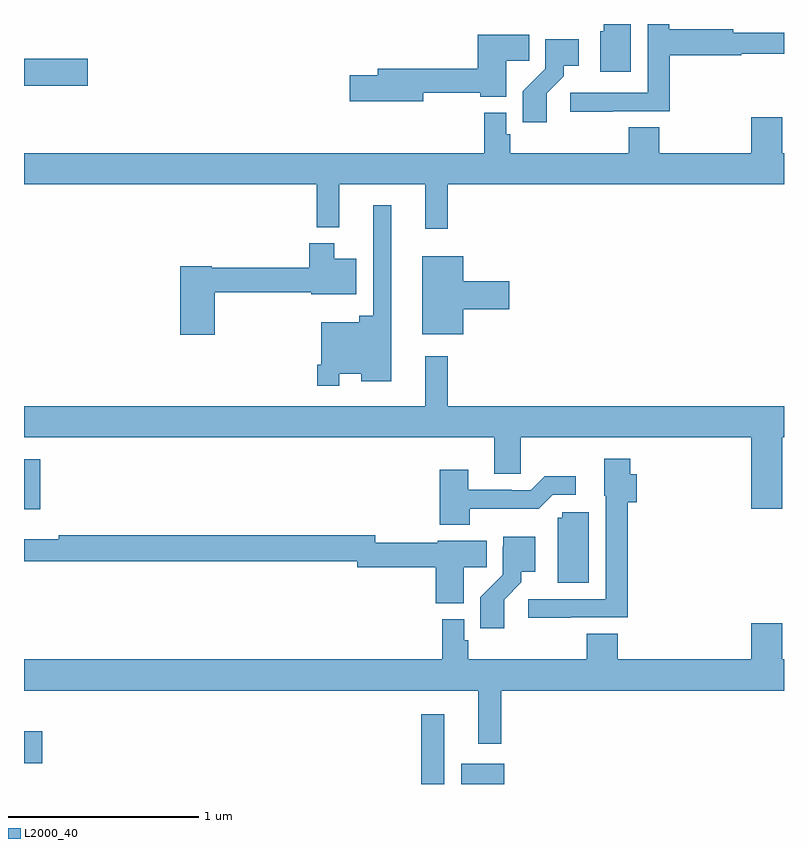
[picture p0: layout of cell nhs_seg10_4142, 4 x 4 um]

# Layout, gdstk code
import gdstk
lib = gdstk.Library(unit=1e-6, precision=1e-09)
def R(c, l, rs):  # rectangles x0, y0, x1, y1
    for r in rs: c.add(gdstk.rectangle(r[:2], r[2:], *l))
def P(c, l, *ps):  # polygons
    for p in ps: c.add(gdstk.Polygon(p, *l))
L2000_40 = (2000, 40)

nhs_seg10_4142 = lib.new_cell('nhs_seg10_4142')
R(nhs_seg10_4142, L2000_40, [(343.092,1290.5,343.213,1290.868), (343.301,1290.5,343.528,1290.607), (341,1290.608,341.095,1290.778), (341,1291.946,341.086,1292.209), (341,1294.174,341.335,1294.316)])
P(nhs_seg10_4142, L2000_40, [(344.194,1294.5),(344.052,1294.5),(344.052,1294.461),(344.033,1294.461),(344.033,1294.248),(344.194,1294.248)],
  [(344.099,1294.041),(344.399,1294.041),(344.399,1294.336),(344.776,1294.336),(344.776,1294.344),(345,1294.344),(345,1294.453),(344.732,1294.453),(344.732,1294.472),(344.395,1294.472),(344.395,1294.5),(344.283,1294.5),(344.283,1294.137),(343.875,1294.137),(343.875,1294.039),(344.099,1294.039)],
  [(343.102,1294.137),(343.4,1294.137),(343.4,1294.118),(343.537,1294.118),(343.537,1294.306),(343.658,1294.306),(343.658,1294.444),(343.388,1294.444),(343.388,1294.265),(342.863,1294.265),(342.863,1294.229),(342.714,1294.229),(342.714,1294.094),(343.102,1294.094)],
  [(343.75,1294.135),(343.84,1294.225),(343.84,1294.28),(343.921,1294.28),(343.921,1294.42),(343.743,1294.42),(343.743,1294.265),(343.624,1294.146),(343.624,1293.984),(343.75,1293.984)],
  [(343.229,1293.656),(345,1293.656),(345,1293.82),(344.992,1293.82),(344.992,1294.009),(344.828,1294.009),(344.828,1293.82),(344.343,1293.82),(344.343,1293.956),(344.183,1293.956),(344.183,1293.82),(343.559,1293.82),(343.559,1293.921),(343.539,1293.921),(343.539,1294.033),(343.423,1294.033),(343.423,1293.82),(341,1293.82),(341,1293.656),(342.541,1293.656),(342.541,1293.431),(342.659,1293.431),(342.659,1293.656),(343.112,1293.656),(343.112,1293.423),(343.229,1293.423)],
  [(342.66,1292.66),(342.776,1292.66),(342.776,1292.621),(342.934,1292.621),(342.934,1293.547),(342.837,1293.547),(342.837,1292.965),(342.764,1292.965),(342.764,1292.929),(342.564,1292.929),(342.564,1292.707),(342.544,1292.707),(342.544,1292.595),(342.66,1292.595)],
  [(342.005,1293.088),(342.512,1293.088),(342.512,1293.077),(342.748,1293.077),(342.748,1293.265),(342.634,1293.265),(342.634,1293.346),(342.5,1293.346),(342.5,1293.217),(341.988,1293.217),(341.988,1293.225),(341.822,1293.225),(341.822,1292.865),(342.005,1292.865)],
  [(343.312,1292.999),(343.555,1292.999),(343.555,1293.146),(343.312,1293.146),(343.312,1293.277),(343.097,1293.277),(343.097,1292.867),(343.312,1292.867)],
  [(344.992,1292.324),(345,1292.324),(345,1292.488),(343.229,1292.488),(343.229,1292.752),(343.112,1292.752),(343.112,1292.488),(341,1292.488),(341,1292.324),(343.475,1292.324),(343.475,1292.134),(343.614,1292.134),(343.614,1292.324),(344.828,1292.324),(344.828,1291.95),(344.992,1291.95)],
  [(343.877,1291.377),(344.177,1291.377),(344.177,1291.982),(344.225,1291.982),(344.225,1292.13),(344.19,1292.13),(344.19,1292.212),(344.054,1292.212),(344.054,1292.016),(344.061,1292.016),(344.061,1291.473),(343.653,1291.473),(343.653,1291.375),(343.877,1291.375)],
  [(343.347,1291.95),(343.709,1291.95),(343.782,1292.022),(343.903,1292.022),(343.903,1292.119),(343.741,1292.119),(343.668,1292.046),(343.568,1292.046),(343.568,1292.049),(343.339,1292.049),(343.339,1292.155),(343.187,1292.155),(343.187,1291.865),(343.347,1291.865)],
  [(343.972,1291.929),(343.833,1291.929),(343.833,1291.902),(343.808,1291.902),(343.808,1291.558),(343.972,1291.558)],
  [(343.315,1291.642),(343.436,1291.642),(343.436,1291.78),(343.178,1291.78),(343.178,1291.769),(342.849,1291.769),(342.849,1291.808),(341.182,1291.808),(341.182,1291.789),(341,1291.789),(341,1291.672),(342.753,1291.672),(342.753,1291.641),(343.166,1291.641),(343.166,1291.451),(343.315,1291.451)],
  [(343.528,1291.471),(343.618,1291.561),(343.618,1291.616),(343.69,1291.616),(343.69,1291.801),(343.523,1291.801),(343.523,1291.752),(343.521,1291.752),(343.521,1291.601),(343.402,1291.482),(343.402,1291.32),(343.528,1291.32)],
  [(343.337,1291.257),(343.317,1291.257),(343.317,1291.366),(343.201,1291.366),(343.201,1291.156),(341,1291.156),(341,1290.992),(343.391,1290.992),(343.391,1290.711),(343.513,1290.711),(343.513,1290.992),(345,1290.992),(345,1291.156),(344.992,1291.156),(344.992,1291.345),(344.828,1291.345),(344.828,1291.156),(344.126,1291.156),(344.126,1291.292),(343.961,1291.292),(343.961,1291.156),(343.337,1291.156)])

lib.write_gds('nhs_seg10_4142.gds')
